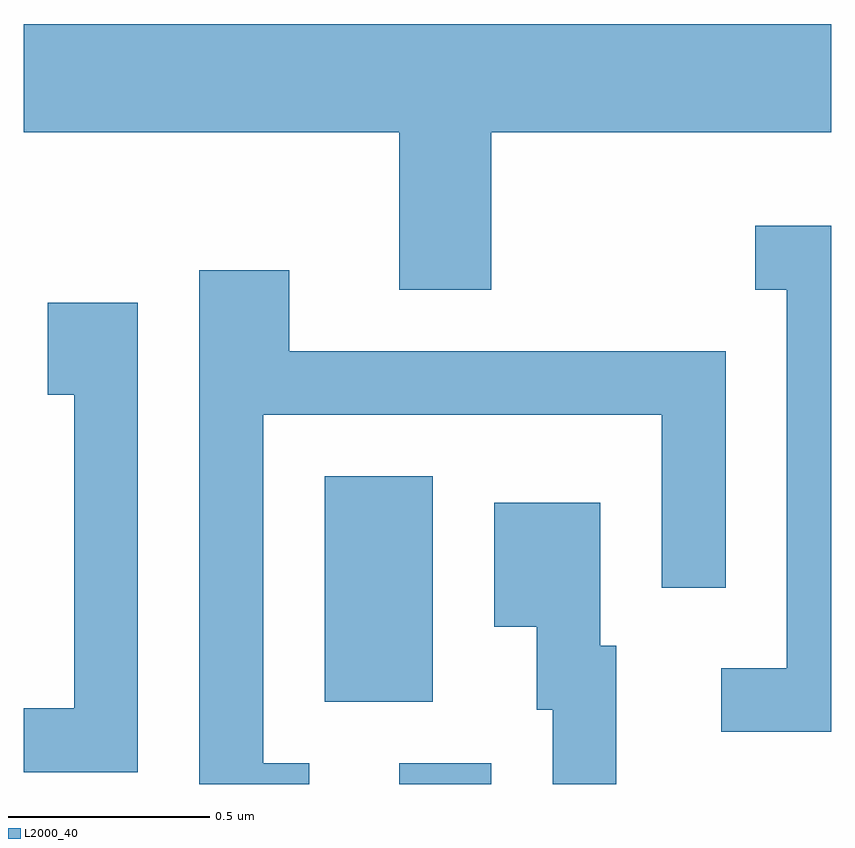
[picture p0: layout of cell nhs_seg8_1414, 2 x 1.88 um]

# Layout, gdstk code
import gdstk
lib = gdstk.Library(unit=1e-6, precision=1e-09)
def R(c, l, rs):  # rectangles x0, y0, x1, y1
    for r in rs: c.add(gdstk.rectangle(r[:2], r[2:], *l))
def P(c, l, *ps):  # polygons
    for p in ps: c.add(gdstk.Polygon(p, *l))
L2000_40 = (2000, 40)

nhs_seg8_1414 = lib.new_cell('nhs_seg8_1414')
R(nhs_seg8_1414, L2000_40, [(196.541,1850.342,196.769,1850.394), (196.356,1850.546,196.624,1851.104)])
P(nhs_seg8_1414, L2000_40, [(196.769,1851.956),(197.611,1851.956),(197.611,1852.224),(195.611,1852.224),(195.611,1851.956),(196.541,1851.956),(196.541,1851.566),(196.769,1851.566)],
  [(197.611,1851.724),(197.423,1851.724),(197.423,1851.566),(197.501,1851.566),(197.501,1850.629),(197.338,1850.629),(197.338,1850.471),(197.611,1850.471)],
  [(196.318,1850.394),(196.204,1850.394),(196.204,1851.256),(197.191,1851.256),(197.191,1850.828),(197.349,1850.828),(197.349,1851.414),(196.269,1851.414),(196.269,1851.614),(196.046,1851.614),(196.046,1850.342),(196.318,1850.342)],
  [(195.894,1851.534),(195.671,1851.534),(195.671,1851.306),(195.736,1851.306),(195.736,1850.529),(195.611,1850.529),(195.611,1850.371),(195.894,1850.371)],
  [(197.079,1850.684),(197.039,1850.684),(197.039,1851.039),(196.776,1851.039),(196.776,1850.731),(196.881,1850.731),(196.881,1850.526),(196.921,1850.526),(196.921,1850.342),(197.079,1850.342)])

lib.write_gds('nhs_seg8_1414.gds')
